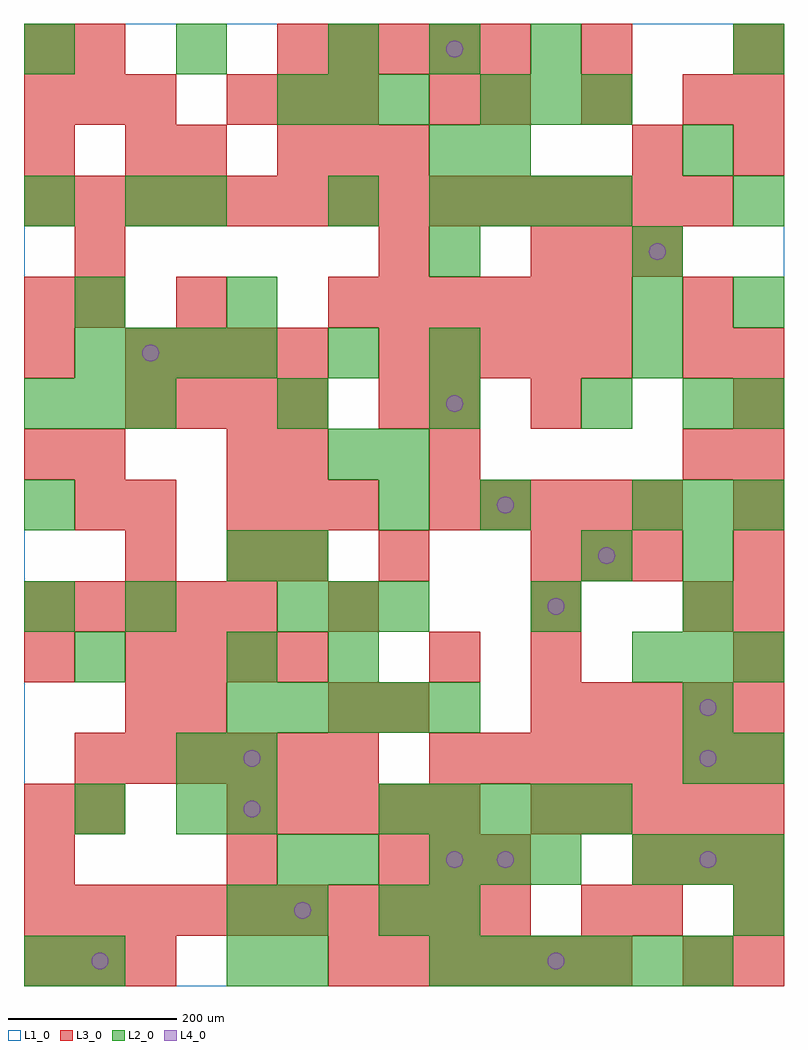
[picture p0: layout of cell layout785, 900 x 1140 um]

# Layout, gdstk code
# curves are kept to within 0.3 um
import gdstk
lib = gdstk.Library(unit=1e-6, precision=1e-09)
def R(c, l, rs):  # rectangles x0, y0, x1, y1
    for r in rs: c.add(gdstk.rectangle(r[:2], r[2:], *l))
def A(c, l, x, y, w, h, nx, ny, dx, dy):  # array of equal rectangles
    R(c, l, [(x+i*dx, y+j*dy, x+i*dx+w, y+j*dy+h) for i in range(nx) for j in range(ny)])
def P(c, l, *ps):  # polygons
    for p in ps: c.add(gdstk.Polygon(p, *l))
L1_0 = (1, 0)
L2_0 = (2, 0)
L3_0 = (3, 0)
L4_0 = (4, 0)

layout785 = lib.new_cell('layout785')
R(layout785, L1_0, [(0,0,900,1140)])
A(layout785, L2_0, 60, 0, 60, 60, 1, 3, 0, 180)
A(layout785, L2_0, 300, 0, 60, 60, 1, 3, 0, 60)
A(layout785, L2_0, 480, 0, 60, 60, 6, 1, 60, 0)
A(layout785, L2_0, 360, 120, 60, 60, 1, 3, 0, 240)
A(layout785, L2_0, 480, 120, 60, 60, 3, 1, 60, 0)
A(layout785, L2_0, 720, 120, 60, 60, 3, 2, 60, 240)
A(layout785, L2_0, 420, 180, 60, 60, 5, 1, 60, 0)
A(layout785, L2_0, 240, 240, 60, 60, 1, 3, 0, 120)
A(layout785, L2_0, 240, 300, 60, 60, 5, 1, 60, 0)
A(layout785, L2_0, 300, 420, 60, 60, 3, 2, 60, 600)
A(layout785, L2_0, 720, 540, 60, 60, 3, 1, 60, 0)
A(layout785, L2_0, 0, 660, 60, 60, 3, 1, 60, 0)
A(layout785, L2_0, 300, 660, 60, 60, 3, 1, 180, 0)
A(layout785, L2_0, 840, 660, 60, 60, 1, 3, 0, 120)
A(layout785, L2_0, 60, 720, 60, 60, 4, 1, 60, 0)
A(layout785, L2_0, 480, 720, 60, 60, 1, 4, 0, 120)
A(layout785, L2_0, 720, 720, 60, 60, 1, 3, 0, 60)
A(layout785, L2_0, 480, 900, 60, 60, 4, 1, 60, 0)
A(layout785, L2_0, 540, 1020, 60, 60, 3, 1, 60, 0)
A(layout785, L2_0, 0, 1080, 60, 60, 3, 1, 180, 0)
R(layout785, L2_0, [(0,0,60,60), (240,0,300,60), (240,60,300,120), (420,60,480,120), (480,60,540,120), (840,60,900,120), (180,180,240,240), (240,180,300,240), (180,240,240,300), (780,240,840,300), (840,240,900,300), (780,300,840,360), (0,420,60,480), (120,420,180,480), (600,420,660,480), (780,420,840,480), (300,480,360,540), (660,480,720,540), (780,480,840,540), (0,540,60,600), (420,540,480,600), (540,540,600,600), (420,600,480,660), (780,660,840,720), (360,720,420,780), (60,780,120,840), (240,780,300,840), (0,900,60,960), (120,900,180,960), (180,900,240,960), (360,900,420,960), (540,960,600,1020), (780,960,840,1020), (600,1080,660,1140), (840,1080,900,1140)])
A(layout785, L3_0, 0, 0, 60, 60, 3, 2, 60, 1020)
A(layout785, L3_0, 360, 0, 60, 60, 6, 2, 60, 780)
A(layout785, L3_0, 0, 60, 60, 60, 10, 1, 60, 0)
A(layout785, L3_0, 420, 120, 60, 60, 3, 1, 60, 0)
A(layout785, L3_0, 720, 120, 60, 60, 3, 1, 60, 0)
A(layout785, L3_0, 240, 180, 60, 60, 5, 1, 60, 0)
A(layout785, L3_0, 600, 180, 60, 60, 5, 2, 60, 120)
A(layout785, L3_0, 60, 240, 60, 60, 6, 1, 60, 0)
A(layout785, L3_0, 480, 240, 60, 60, 7, 1, 60, 0)
A(layout785, L3_0, 420, 300, 60, 60, 1, 4, 0, 180)
A(layout785, L3_0, 120, 360, 60, 60, 4, 2, 60, 300)
A(layout785, L3_0, 840, 360, 60, 60, 1, 7, 0, 60)
A(layout785, L3_0, 0, 420, 60, 60, 5, 1, 60, 0)
A(layout785, L3_0, 600, 480, 60, 60, 3, 2, 60, 360)
A(layout785, L3_0, 240, 540, 60, 60, 3, 2, 60, 480)
A(layout785, L3_0, 480, 540, 60, 60, 5, 1, 60, 0)
A(layout785, L3_0, 120, 720, 60, 60, 4, 1, 60, 0)
A(layout785, L3_0, 420, 720, 60, 60, 5, 1, 60, 0)
A(layout785, L3_0, 0, 900, 60, 60, 14, 1, 60, 0)
A(layout785, L3_0, 300, 960, 60, 60, 3, 1, 60, 0)
A(layout785, L3_0, 840, 960, 60, 60, 1, 3, 0, 60)
A(layout785, L3_0, 540, 1020, 60, 60, 3, 1, 120, 0)
A(layout785, L3_0, 300, 1080, 60, 60, 5, 1, 60, 0)
R(layout785, L3_0, [(780,0,840,60), (840,0,900,60), (660,60,720,120), (720,60,780,120), (840,60,900,120), (0,120,60,180), (240,120,300,180), (0,180,60,240), (60,180,120,240), (120,300,180,360), (180,300,240,360), (360,300,420,360), (0,360,60,420), (480,360,540,420), (600,360,660,420), (360,420,420,480), (600,420,660,480), (780,420,840,480), (120,480,180,540), (240,480,300,540), (300,480,360,540), (60,540,120,600), (120,540,180,600), (0,600,60,660), (60,600,120,660), (240,600,300,660), (300,600,360,660), (480,600,540,660), (780,600,840,660), (480,660,540,720), (600,660,660,720), (0,720,60,780), (780,720,840,780), (0,780,60,840), (60,780,120,840), (180,780,240,840), (780,780,840,840), (60,840,120,900), (0,960,60,1020), (120,960,180,1020), (180,960,240,1020), (720,960,780,1020), (480,1020,540,1080), (0,1080,60,1140), (60,1080,120,1140), (660,1080,720,1140)])
P(layout785, L4_0, [(100,30),(99.239,33.827),(97.071,37.071),(93.827,39.239),(90,40),(86.173,39.239),(82.929,37.071),(80.761,33.827),(80,30),(80.761,26.173),(82.929,22.929),(86.173,20.761),(90,20),(93.827,20.761),(97.071,22.929),(99.239,26.173)],
  [(160,750),(159.239,753.827),(157.071,757.071),(153.827,759.239),(150,760),(146.173,759.239),(142.929,757.071),(140.761,753.827),(140,750),(140.761,746.173),(142.929,742.929),(146.173,740.761),(150,740),(153.827,740.761),(157.071,742.929),(159.239,746.173)],
  [(280,210),(279.239,213.827),(277.071,217.071),(273.827,219.239),(270,220),(266.173,219.239),(262.929,217.071),(260.761,213.827),(260,210),(260.761,206.173),(262.929,202.929),(266.173,200.761),(270,200),(273.827,200.761),(277.071,202.929),(279.239,206.173)],
  [(280,270),(279.239,273.827),(277.071,277.071),(273.827,279.239),(270,280),(266.173,279.239),(262.929,277.071),(260.761,273.827),(260,270),(260.761,266.173),(262.929,262.929),(266.173,260.761),(270,260),(273.827,260.761),(277.071,262.929),(279.239,266.173)],
  [(340,90),(339.239,93.827),(337.071,97.071),(333.827,99.239),(330,100),(326.173,99.239),(322.929,97.071),(320.761,93.827),(320,90),(320.761,86.173),(322.929,82.929),(326.173,80.761),(330,80),(333.827,80.761),(337.071,82.929),(339.239,86.173)],
  [(520,150),(519.239,153.827),(517.071,157.071),(513.827,159.239),(510,160),(506.173,159.239),(502.929,157.071),(500.761,153.827),(500,150),(500.761,146.173),(502.929,142.929),(506.173,140.761),(510,140),(513.827,140.761),(517.071,142.929),(519.239,146.173)],
  [(520,690),(519.239,693.827),(517.071,697.071),(513.827,699.239),(510,700),(506.173,699.239),(502.929,697.071),(500.761,693.827),(500,690),(500.761,686.173),(502.929,682.929),(506.173,680.761),(510,680),(513.827,680.761),(517.071,682.929),(519.239,686.173)],
  [(520,1110),(519.239,1113.827),(517.071,1117.071),(513.827,1119.239),(510,1120),(506.173,1119.239),(502.929,1117.071),(500.761,1113.827),(500,1110),(500.761,1106.173),(502.929,1102.929),(506.173,1100.761),(510,1100),(513.827,1100.761),(517.071,1102.929),(519.239,1106.173)],
  [(580,150),(579.239,153.827),(577.071,157.071),(573.827,159.239),(570,160),(566.173,159.239),(562.929,157.071),(560.761,153.827),(560,150),(560.761,146.173),(562.929,142.929),(566.173,140.761),(570,140),(573.827,140.761),(577.071,142.929),(579.239,146.173)],
  [(580,570),(579.239,573.827),(577.071,577.071),(573.827,579.239),(570,580),(566.173,579.239),(562.929,577.071),(560.761,573.827),(560,570),(560.761,566.173),(562.929,562.929),(566.173,560.761),(570,560),(573.827,560.761),(577.071,562.929),(579.239,566.173)],
  [(640,30),(639.239,33.827),(637.071,37.071),(633.827,39.239),(630,40),(626.173,39.239),(622.929,37.071),(620.761,33.827),(620,30),(620.761,26.173),(622.929,22.929),(626.173,20.761),(630,20),(633.827,20.761),(637.071,22.929),(639.239,26.173)],
  [(640,450),(639.239,453.827),(637.071,457.071),(633.827,459.239),(630,460),(626.173,459.239),(622.929,457.071),(620.761,453.827),(620,450),(620.761,446.173),(622.929,442.929),(626.173,440.761),(630,440),(633.827,440.761),(637.071,442.929),(639.239,446.173)],
  [(700,510),(699.239,513.827),(697.071,517.071),(693.827,519.239),(690,520),(686.173,519.239),(682.929,517.071),(680.761,513.827),(680,510),(680.761,506.173),(682.929,502.929),(686.173,500.761),(690,500),(693.827,500.761),(697.071,502.929),(699.239,506.173)],
  [(760,870),(759.239,873.827),(757.071,877.071),(753.827,879.239),(750,880),(746.173,879.239),(742.929,877.071),(740.761,873.827),(740,870),(740.761,866.173),(742.929,862.929),(746.173,860.761),(750,860),(753.827,860.761),(757.071,862.929),(759.239,866.173)],
  [(820,150),(819.239,153.827),(817.071,157.071),(813.827,159.239),(810,160),(806.173,159.239),(802.929,157.071),(800.761,153.827),(800,150),(800.761,146.173),(802.929,142.929),(806.173,140.761),(810,140),(813.827,140.761),(817.071,142.929),(819.239,146.173)],
  [(820,270),(819.239,273.827),(817.071,277.071),(813.827,279.239),(810,280),(806.173,279.239),(802.929,277.071),(800.761,273.827),(800,270),(800.761,266.173),(802.929,262.929),(806.173,260.761),(810,260),(813.827,260.761),(817.071,262.929),(819.239,266.173)],
  [(820,330),(819.239,333.827),(817.071,337.071),(813.827,339.239),(810,340),(806.173,339.239),(802.929,337.071),(800.761,333.827),(800,330),(800.761,326.173),(802.929,322.929),(806.173,320.761),(810,320),(813.827,320.761),(817.071,322.929),(819.239,326.173)])

lib.write_gds('layout785.gds')
